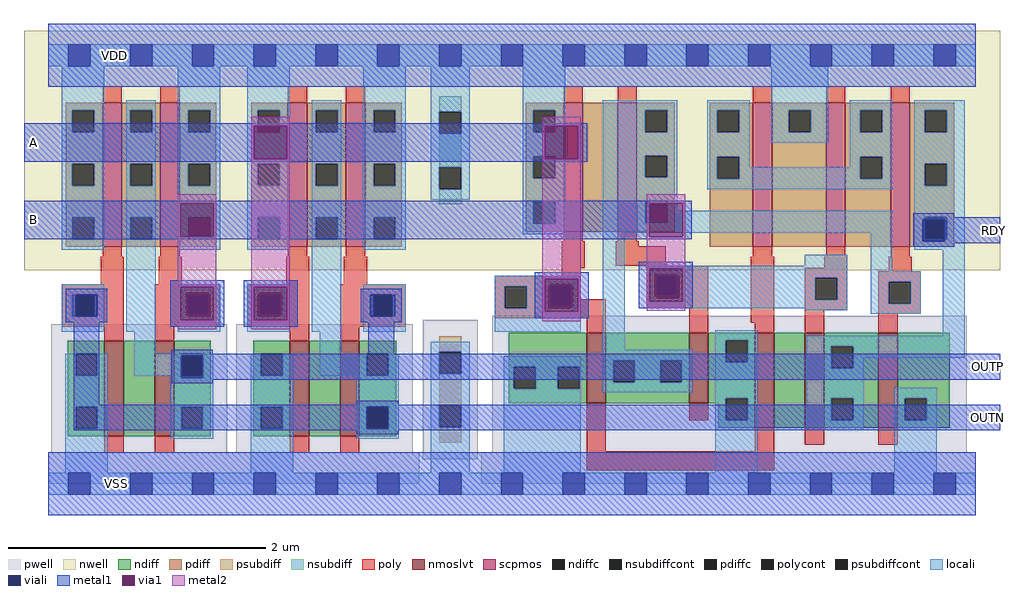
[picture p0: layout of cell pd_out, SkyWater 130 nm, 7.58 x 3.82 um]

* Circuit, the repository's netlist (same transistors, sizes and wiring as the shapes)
* NGSPICE file created from pd_out.ext - technology: sky130A

.subckt sky130_fd_sc_hs__nand2_1 A B VGND VNB VPB VPWR Y
X0 a_117_74# B VGND VNB sky130_fd_pr__nfet_01v8_lvt ad=0.0888 pd=0.98 as=0.2109 ps=2.05 w=0.74 l=0.15
X1 VPWR A Y VPB sky130_fd_pr__pfet_01v8 ad=0.3192 pd=2.81 as=0.168 ps=1.42 w=1.12 l=0.15
X2 Y A a_117_74# VNB sky130_fd_pr__nfet_01v8_lvt ad=0.2109 pd=2.05 as=0.0888 ps=0.98 w=0.74 l=0.15
X3 Y B VPWR VPB sky130_fd_pr__pfet_01v8 ad=0.168 pd=1.42 as=0.3192 ps=2.81 w=1.12 l=0.15
.ends

.subckt sky130_fd_sc_hs__xor2_1 A B VGND VNB VPB VPWR X
X0 X B a_455_87# VNB sky130_fd_pr__nfet_01v8_lvt ad=0.1554 pd=1.16 as=0.0888 ps=0.98 w=0.74 l=0.15
X1 X a_194_125# a_355_368# VPB sky130_fd_pr__pfet_01v8 ad=0.3864 pd=2.93 as=0.196 ps=1.47 w=1.12 l=0.15
X2 a_194_125# B a_158_392# VPB sky130_fd_pr__pfet_01v8 ad=0.295 pd=2.59 as=0.135 ps=1.27 w=1 l=0.15
X3 VPWR A a_355_368# VPB sky130_fd_pr__pfet_01v8 ad=0.2352 pd=1.54 as=0.3752 ps=2.91 w=1.12 l=0.15
X4 a_158_392# A VPWR VPB sky130_fd_pr__pfet_01v8 ad=0.135 pd=1.27 as=0.295 ps=2.59 w=1 l=0.15
X5 a_355_368# B VPWR VPB sky130_fd_pr__pfet_01v8 ad=0.196 pd=1.47 as=0.2352 ps=1.54 w=1.12 l=0.15
X6 a_194_125# A VGND VNB sky130_fd_pr__nfet_01v8_lvt ad=0.17738 pd=1.195 as=0.33275 ps=2.31 w=0.55 l=0.15
X7 a_455_87# A VGND VNB sky130_fd_pr__nfet_01v8_lvt ad=0.0888 pd=0.98 as=0.12607 ps=1.1 w=0.74 l=0.15
X8 VGND B a_194_125# VNB sky130_fd_pr__nfet_01v8_lvt ad=0.12607 pd=1.1 as=0.17738 ps=1.195 w=0.55 l=0.15
X9 VGND a_194_125# X VNB sky130_fd_pr__nfet_01v8_lvt ad=0.2997 pd=2.29 as=0.1554 ps=1.16 w=0.74 l=0.15
.ends

.subckt pd_out A B VDD VSS RDY OUTP OUTN
Xx1 B OUTN VSS VSS VDD VDD OUTP sky130_fd_sc_hs__nand2_1
Xx2 OUTP A VSS VSS VDD VDD OUTN sky130_fd_sc_hs__nand2_1
Xx3 A B VSS VSS VDD VDD RDY sky130_fd_sc_hs__xor2_1
.ends

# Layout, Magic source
magic
tech sky130A
magscale 1 2
<< locali >>
rect 1393 362 1433 365
rect 1393 328 1396 362
rect 1430 328 1433 362
rect 1393 325 1433 328
rect 967 277 1027 290
rect 805 261 865 274
rect 239 248 299 261
rect 77 245 117 248
rect 77 211 80 245
rect 114 211 117 245
rect 77 208 117 211
rect 239 214 252 248
rect 286 214 299 248
rect 239 201 299 214
rect 353 248 413 261
rect 353 214 366 248
rect 400 214 413 248
rect 353 201 413 214
rect 535 245 575 248
rect 535 211 538 245
rect 572 211 575 245
rect 805 227 818 261
rect 852 227 865 261
rect 967 243 980 277
rect 1014 243 1027 277
rect 967 230 1027 243
rect 805 214 865 227
rect 535 208 575 211
rect 241 150 281 153
rect 241 116 244 150
rect 278 116 281 150
rect 241 113 281 116
rect 529 71 569 74
rect 529 37 532 71
rect 566 37 569 71
rect 529 34 569 37
<< viali >>
rect 1396 328 1430 362
rect 80 211 114 245
rect 252 214 286 248
rect 366 214 400 248
rect 538 211 572 245
rect 818 227 852 261
rect 980 243 1014 277
rect 244 116 278 150
rect 532 37 566 71
<< metal1 >>
rect 38 568 1478 666
rect 0 507 875 511
rect 0 455 357 507
rect 409 455 809 507
rect 861 455 875 507
rect 0 451 875 455
rect 0 387 1037 391
rect 0 335 243 387
rect 295 335 971 387
rect 1023 335 1037 387
rect 0 331 1037 335
rect 1381 365 1445 371
rect 1381 362 1516 365
rect 1381 328 1396 362
rect 1430 328 1516 362
rect 1381 325 1516 328
rect 1381 319 1445 325
rect 955 286 1039 296
rect 793 270 877 280
rect 227 257 311 267
rect 65 245 129 254
rect 65 211 80 245
rect 114 211 129 245
rect 65 202 129 211
rect 227 205 243 257
rect 295 205 311 257
rect 77 74 117 202
rect 227 195 311 205
rect 341 257 425 267
rect 341 205 357 257
rect 409 205 425 257
rect 341 195 425 205
rect 523 245 587 254
rect 523 211 538 245
rect 572 211 587 245
rect 523 202 587 211
rect 793 218 809 270
rect 861 218 877 270
rect 955 234 971 286
rect 1023 234 1039 286
rect 955 224 1039 234
rect 793 208 877 218
rect 229 153 293 159
rect 535 153 575 202
rect 229 150 1516 153
rect 229 116 244 150
rect 278 116 1516 150
rect 229 113 1516 116
rect 229 107 293 113
rect 517 74 581 80
rect 77 71 1516 74
rect 77 37 532 71
rect 566 37 1516 71
rect 77 34 1516 37
rect 517 28 581 34
rect 38 -98 1478 0
<< via1 >>
rect 357 455 409 507
rect 809 455 861 507
rect 243 335 295 387
rect 971 335 1023 387
rect 243 248 295 257
rect 243 214 252 248
rect 252 214 286 248
rect 286 214 295 248
rect 243 205 295 214
rect 357 248 409 257
rect 357 214 366 248
rect 366 214 400 248
rect 400 214 409 248
rect 357 205 409 214
rect 809 261 861 270
rect 809 227 818 261
rect 818 227 852 261
rect 852 227 861 261
rect 809 218 861 227
rect 971 277 1023 286
rect 971 243 980 277
rect 980 243 1014 277
rect 1014 243 1023 277
rect 971 234 1023 243
<< metal2 >>
rect 353 507 413 521
rect 353 455 357 507
rect 409 455 413 507
rect 239 387 299 401
rect 239 335 243 387
rect 295 335 299 387
rect 239 257 299 335
rect 239 205 243 257
rect 295 205 299 257
rect 239 191 299 205
rect 353 257 413 455
rect 353 205 357 257
rect 409 205 413 257
rect 353 191 413 205
rect 805 507 865 521
rect 805 455 809 507
rect 861 455 865 507
rect 805 270 865 455
rect 805 218 809 270
rect 861 218 865 270
rect 967 387 1027 401
rect 967 335 971 387
rect 1023 335 1027 387
rect 967 286 1027 335
rect 967 234 971 286
rect 1023 234 1027 286
rect 967 220 1027 234
rect 805 204 865 218
use sky130_fd_sc_hs__tapvpwrvgnd_1  sky130_fd_sc_hs__tapvpwrvgnd_1_0
transform 1 0 614 0 1 -49
box -38 -49 134 715
use sky130_fd_sc_hs__nand2_1  x1
transform 1 0 38 0 1 -49
box -38 -49 326 715
use sky130_fd_sc_hs__nand2_1  x2
transform 1 0 326 0 1 -49
box -38 -49 326 715
use sky130_fd_sc_hs__xor2_1  x3
transform 1 0 710 0 1 -49
box -38 -49 806 715
<< labels >>
flabel metal1 s 0 451 30 511 0 FreeSans 500 0 0 0 A
port 1 nsew
flabel metal1 s 0 331 30 391 0 FreeSans 500 0 0 0 B
port 2 nsew
flabel metal1 s 91 568 189 666 0 FreeSans 500 0 0 0 VDD
port 3 nsew
flabel metal1 s 95 -98 193 0 0 FreeSans 500 0 0 0 VSS
port 4 nsew
flabel metal1 s 1496 325 1516 365 0 FreeSans 500 0 0 0 RDY
port 5 nsew
flabel metal1 s 1476 113 1516 153 0 FreeSans 500 0 0 0 OUTP
port 6 nsew
flabel metal1 s 1476 34 1516 74 0 FreeSans 500 0 0 0 OUTN
port 7 nsew
<< end >>

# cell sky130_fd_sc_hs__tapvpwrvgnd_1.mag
magic
tech sky130A
magscale 1 2
<< nwell >>
rect -38 332 134 704
<< pwell >>
rect 5 38 91 255
<< psubdiff >>
rect 31 205 65 229
rect 31 122 65 171
rect 31 64 65 88
<< nsubdiff >>
rect 31 578 65 602
rect 31 492 65 544
rect 31 434 65 458
<< psubdiffcont >>
rect 31 171 65 205
rect 31 88 65 122
<< nsubdiffcont >>
rect 31 544 65 578
rect 31 458 65 492
<< locali >>
rect 0 649 31 683
rect 65 649 96 683
rect 18 578 78 649
rect 18 544 31 578
rect 65 544 78 578
rect 18 492 78 544
rect 18 458 31 492
rect 65 458 78 492
rect 18 441 78 458
rect 18 205 78 221
rect 18 171 31 205
rect 65 171 78 205
rect 18 122 78 171
rect 18 88 31 122
rect 65 88 78 122
rect 18 17 78 88
rect 0 -17 31 17
rect 65 -17 96 17
<< viali >>
rect 31 649 65 683
rect 31 -17 65 17
<< metal1 >>
rect 0 683 96 715
rect 0 649 31 683
rect 65 649 96 683
rect 0 617 96 649
rect 0 17 96 49
rect 0 -17 31 17
rect 65 -17 96 17
rect 0 -49 96 -17
<< labels >>
rlabel comment s 0 0 0 0 4 tapvpwrvgnd_1
flabel metal1 s 0 617 96 666 0 FreeSans 200 0 0 0 VPWR
port 1 nsew
flabel metal1 s 0 0 96 49 0 FreeSans 200 0 0 0 VGND
port 2 nsew
<< properties >>
string FIXED_BBOX 0 0 96 666
<< end >>

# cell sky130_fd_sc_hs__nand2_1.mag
magic
tech sky130A
magscale 1 2
<< nwell >>
rect -38 332 326 704
<< pwell >>
rect 4 49 278 248
rect 0 0 288 49
<< scpmos >>
rect 84 368 114 592
rect 174 368 204 592
<< nmoslvt >>
rect 87 74 117 222
rect 165 74 195 222
<< ndiff >>
rect 30 202 87 222
rect 30 168 42 202
rect 76 168 87 202
rect 30 120 87 168
rect 30 86 42 120
rect 76 86 87 120
rect 30 74 87 86
rect 117 74 165 222
rect 195 202 252 222
rect 195 168 206 202
rect 240 168 252 202
rect 195 120 252 168
rect 195 86 206 120
rect 240 86 252 120
rect 195 74 252 86
<< pdiff >>
rect 27 580 84 592
rect 27 546 37 580
rect 71 546 84 580
rect 27 497 84 546
rect 27 463 37 497
rect 71 463 84 497
rect 27 414 84 463
rect 27 380 37 414
rect 71 380 84 414
rect 27 368 84 380
rect 114 580 174 592
rect 114 546 127 580
rect 161 546 174 580
rect 114 497 174 546
rect 114 463 127 497
rect 161 463 174 497
rect 114 414 174 463
rect 114 380 127 414
rect 161 380 174 414
rect 114 368 174 380
rect 204 580 261 592
rect 204 546 217 580
rect 251 546 261 580
rect 204 497 261 546
rect 204 463 217 497
rect 251 463 261 497
rect 204 414 261 463
rect 204 380 217 414
rect 251 380 261 414
rect 204 368 261 380
<< ndiffc >>
rect 42 168 76 202
rect 42 86 76 120
rect 206 168 240 202
rect 206 86 240 120
<< pdiffc >>
rect 37 546 71 580
rect 37 463 71 497
rect 37 380 71 414
rect 127 546 161 580
rect 127 463 161 497
rect 127 380 161 414
rect 217 546 251 580
rect 217 463 251 497
rect 217 380 251 414
<< poly >>
rect 84 592 114 618
rect 174 592 204 618
rect 84 353 114 368
rect 174 353 204 368
rect 81 310 117 353
rect 171 310 207 353
rect 21 294 117 310
rect 21 260 37 294
rect 71 260 117 294
rect 21 244 117 260
rect 87 222 117 244
rect 165 294 267 310
rect 165 260 217 294
rect 251 260 267 294
rect 165 244 267 260
rect 165 222 195 244
rect 87 48 117 74
rect 165 48 195 74
<< polycont >>
rect 37 260 71 294
rect 217 260 251 294
<< locali >>
rect 0 649 31 683
rect 65 649 127 683
rect 161 649 223 683
rect 257 649 288 683
rect 21 580 87 649
rect 21 546 37 580
rect 71 546 87 580
rect 21 497 87 546
rect 21 463 37 497
rect 71 463 87 497
rect 21 414 87 463
rect 21 380 37 414
rect 71 380 87 414
rect 21 364 87 380
rect 121 580 167 596
rect 121 546 127 580
rect 161 546 167 580
rect 121 497 167 546
rect 121 463 127 497
rect 161 463 167 497
rect 121 414 167 463
rect 121 380 127 414
rect 161 380 167 414
rect 21 294 87 310
rect 21 260 37 294
rect 71 260 87 294
rect 21 236 87 260
rect 121 236 167 380
rect 201 580 267 649
rect 201 546 217 580
rect 251 546 267 580
rect 201 497 267 546
rect 201 463 217 497
rect 251 463 267 497
rect 201 414 267 463
rect 201 380 217 414
rect 251 380 267 414
rect 201 364 267 380
rect 201 294 267 310
rect 201 260 217 294
rect 251 260 267 294
rect 201 236 267 260
rect 133 202 167 236
rect 26 168 42 202
rect 76 168 92 202
rect 133 168 206 202
rect 240 168 256 202
rect 26 120 92 168
rect 26 86 42 120
rect 76 86 92 120
rect 26 17 92 86
rect 190 120 256 168
rect 190 86 206 120
rect 240 86 256 120
rect 190 70 256 86
rect 0 -17 31 17
rect 65 -17 127 17
rect 161 -17 223 17
rect 257 -17 288 17
<< viali >>
rect 31 649 65 683
rect 127 649 161 683
rect 223 649 257 683
rect 31 -17 65 17
rect 127 -17 161 17
rect 223 -17 257 17
<< metal1 >>
rect 0 683 288 715
rect 0 649 31 683
rect 65 649 127 683
rect 161 649 223 683
rect 257 649 288 683
rect 0 617 288 649
rect 0 17 288 49
rect 0 -17 31 17
rect 65 -17 127 17
rect 161 -17 223 17
rect 257 -17 288 17
rect 0 -49 288 -17
<< labels >>
rlabel comment s 0 0 0 0 4 nand2_1
flabel pwell s 0 0 288 49 0 FreeSans 200 0 0 0 VNB
port 1 nsew
flabel nwell s 0 617 288 666 0 FreeSans 200 0 0 0 VPB
port 2 nsew
flabel metal1 s 0 617 288 666 0 FreeSans 340 0 0 0 VPWR
port 3 nsew
flabel metal1 s 0 0 288 49 0 FreeSans 340 0 0 0 VGND
port 4 nsew
flabel locali s 31 242 65 276 0 FreeSans 340 0 0 0 B
port 6 nsew
flabel locali s 127 242 161 276 0 FreeSans 340 0 0 0 Y
port 7 nsew
flabel locali s 127 316 161 350 0 FreeSans 340 0 0 0 Y
port 7 nsew
flabel locali s 127 390 161 424 0 FreeSans 340 0 0 0 Y
port 7 nsew
flabel locali s 127 464 161 498 0 FreeSans 340 0 0 0 Y
port 7 nsew
flabel locali s 127 538 161 572 0 FreeSans 340 0 0 0 Y
port 7 nsew
flabel locali s 223 242 257 276 0 FreeSans 340 0 0 0 A
port 8 nsew
<< properties >>
string FIXED_BBOX 0 0 288 666
<< end >>

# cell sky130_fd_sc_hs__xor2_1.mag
magic
tech sky130A
magscale 1 2
<< nwell >>
rect -38 332 806 704
<< pwell >>
rect 17 49 754 261
rect 0 0 768 49
<< scpmos >>
rect 128 392 158 592
rect 212 392 242 592
rect 422 368 452 592
rect 536 368 566 592
rect 636 368 666 592
<< nmoslvt >>
rect 164 125 194 235
rect 323 125 353 235
rect 425 87 455 235
rect 503 87 533 235
rect 617 87 647 235
<< ndiff >>
rect 43 182 164 235
rect 43 148 51 182
rect 85 148 119 182
rect 153 148 164 182
rect 43 125 164 148
rect 194 192 323 235
rect 194 158 205 192
rect 239 158 278 192
rect 312 158 323 192
rect 194 125 323 158
rect 353 223 425 235
rect 353 189 380 223
rect 414 189 425 223
rect 353 133 425 189
rect 353 125 380 133
rect 368 99 380 125
rect 414 99 425 133
rect 368 87 425 99
rect 455 87 503 235
rect 533 214 617 235
rect 533 180 544 214
rect 578 180 617 214
rect 533 133 617 180
rect 533 99 544 133
rect 578 99 617 133
rect 533 87 617 99
rect 647 133 728 235
rect 647 99 658 133
rect 692 99 728 133
rect 647 87 728 99
<< pdiff >>
rect 69 580 128 592
rect 69 546 81 580
rect 115 546 128 580
rect 69 509 128 546
rect 69 475 81 509
rect 115 475 128 509
rect 69 438 128 475
rect 69 404 81 438
rect 115 404 128 438
rect 69 392 128 404
rect 158 392 212 592
rect 242 580 301 592
rect 242 546 255 580
rect 289 546 301 580
rect 242 510 301 546
rect 242 476 255 510
rect 289 476 301 510
rect 242 440 301 476
rect 242 406 255 440
rect 289 406 301 440
rect 242 392 301 406
rect 355 580 422 592
rect 355 546 367 580
rect 401 546 422 580
rect 355 508 422 546
rect 355 474 367 508
rect 401 474 422 508
rect 355 368 422 474
rect 452 580 536 592
rect 452 546 478 580
rect 512 546 536 580
rect 452 368 536 546
rect 566 580 636 592
rect 566 546 589 580
rect 623 546 636 580
rect 566 508 636 546
rect 566 474 589 508
rect 623 474 636 508
rect 566 368 636 474
rect 666 580 735 592
rect 666 546 689 580
rect 723 546 735 580
rect 666 497 735 546
rect 666 463 689 497
rect 723 463 735 497
rect 666 414 735 463
rect 666 380 689 414
rect 723 380 735 414
rect 666 368 735 380
<< ndiffc >>
rect 51 148 85 182
rect 119 148 153 182
rect 205 158 239 192
rect 278 158 312 192
rect 380 189 414 223
rect 380 99 414 133
rect 544 180 578 214
rect 544 99 578 133
rect 658 99 692 133
<< pdiffc >>
rect 81 546 115 580
rect 81 475 115 509
rect 81 404 115 438
rect 255 546 289 580
rect 255 476 289 510
rect 255 406 289 440
rect 367 546 401 580
rect 367 474 401 508
rect 478 546 512 580
rect 589 546 623 580
rect 589 474 623 508
rect 689 546 723 580
rect 689 463 723 497
rect 689 380 723 414
<< poly >>
rect 128 592 158 618
rect 212 592 242 618
rect 422 592 452 618
rect 536 592 566 618
rect 636 592 666 618
rect 128 377 158 392
rect 212 377 242 392
rect 125 335 161 377
rect 209 369 245 377
rect 209 339 287 369
rect 422 353 452 368
rect 536 353 566 368
rect 636 353 666 368
rect 125 323 155 335
rect 21 307 155 323
rect 21 273 37 307
rect 71 273 105 307
rect 139 287 155 307
rect 257 323 353 339
rect 257 289 273 323
rect 307 289 353 323
rect 139 273 194 287
rect 257 273 353 289
rect 21 257 194 273
rect 164 235 194 257
rect 323 235 353 273
rect 419 250 455 353
rect 533 336 569 353
rect 425 235 455 250
rect 503 320 569 336
rect 633 330 669 353
rect 503 286 519 320
rect 553 286 569 320
rect 503 270 569 286
rect 617 314 683 330
rect 617 280 633 314
rect 667 280 683 314
rect 503 235 533 270
rect 617 264 683 280
rect 617 235 647 264
rect 164 51 194 125
rect 323 99 353 125
rect 425 51 455 87
rect 503 61 533 87
rect 617 61 647 87
rect 164 21 455 51
<< polycont >>
rect 37 273 71 307
rect 105 273 139 307
rect 273 289 307 323
rect 519 286 553 320
rect 633 280 667 314
<< locali >>
rect 0 649 31 683
rect 65 649 127 683
rect 161 649 223 683
rect 257 649 319 683
rect 353 649 415 683
rect 449 649 511 683
rect 545 649 607 683
rect 641 649 703 683
rect 737 649 768 683
rect 65 580 131 649
rect 65 546 81 580
rect 115 546 131 580
rect 65 509 131 546
rect 65 475 81 509
rect 115 475 131 509
rect 65 438 131 475
rect 65 404 81 438
rect 115 404 131 438
rect 65 388 131 404
rect 189 580 305 596
rect 189 546 255 580
rect 289 546 305 580
rect 189 510 305 546
rect 189 476 255 510
rect 289 476 305 510
rect 189 440 305 476
rect 351 580 417 596
rect 351 546 367 580
rect 401 546 417 580
rect 351 508 417 546
rect 451 580 539 649
rect 451 546 478 580
rect 512 546 539 580
rect 451 530 539 546
rect 573 580 639 596
rect 573 546 589 580
rect 623 546 639 580
rect 351 474 367 508
rect 401 492 417 508
rect 573 508 639 546
rect 573 492 589 508
rect 401 474 589 492
rect 623 474 639 508
rect 351 458 639 474
rect 673 580 751 596
rect 673 546 689 580
rect 723 546 751 580
rect 673 497 751 546
rect 673 463 689 497
rect 723 463 751 497
rect 189 406 255 440
rect 289 424 305 440
rect 289 406 639 424
rect 189 390 639 406
rect 21 307 155 323
rect 21 273 37 307
rect 71 273 105 307
rect 139 273 155 307
rect 21 236 155 273
rect 189 208 223 390
rect 503 339 569 356
rect 257 323 569 339
rect 257 289 273 323
rect 307 320 569 323
rect 307 289 519 320
rect 257 286 519 289
rect 553 286 569 320
rect 257 273 569 286
rect 503 270 569 273
rect 605 330 639 390
rect 673 414 751 463
rect 673 380 689 414
rect 723 380 751 414
rect 673 364 751 380
rect 605 314 683 330
rect 605 280 633 314
rect 667 280 683 314
rect 605 264 683 280
rect 364 223 430 239
rect 717 230 751 364
rect 35 182 155 198
rect 35 148 51 182
rect 85 148 119 182
rect 153 148 155 182
rect 35 17 155 148
rect 189 192 328 208
rect 189 158 205 192
rect 239 158 278 192
rect 312 158 328 192
rect 189 142 328 158
rect 364 189 380 223
rect 414 189 430 223
rect 364 133 430 189
rect 364 99 380 133
rect 414 99 430 133
rect 364 17 430 99
rect 505 214 751 230
rect 505 180 544 214
rect 578 196 751 214
rect 578 180 594 196
rect 505 133 594 180
rect 505 99 544 133
rect 578 99 594 133
rect 505 83 594 99
rect 642 133 708 149
rect 642 99 658 133
rect 692 99 708 133
rect 642 17 708 99
rect 0 -17 31 17
rect 65 -17 127 17
rect 161 -17 223 17
rect 257 -17 319 17
rect 353 -17 415 17
rect 449 -17 511 17
rect 545 -17 607 17
rect 641 -17 703 17
rect 737 -17 768 17
<< viali >>
rect 31 649 65 683
rect 127 649 161 683
rect 223 649 257 683
rect 319 649 353 683
rect 415 649 449 683
rect 511 649 545 683
rect 607 649 641 683
rect 703 649 737 683
rect 31 -17 65 17
rect 127 -17 161 17
rect 223 -17 257 17
rect 319 -17 353 17
rect 415 -17 449 17
rect 511 -17 545 17
rect 607 -17 641 17
rect 703 -17 737 17
<< metal1 >>
rect 0 683 768 715
rect 0 649 31 683
rect 65 649 127 683
rect 161 649 223 683
rect 257 649 319 683
rect 353 649 415 683
rect 449 649 511 683
rect 545 649 607 683
rect 641 649 703 683
rect 737 649 768 683
rect 0 617 768 649
rect 0 17 768 49
rect 0 -17 31 17
rect 65 -17 127 17
rect 161 -17 223 17
rect 257 -17 319 17
rect 353 -17 415 17
rect 449 -17 511 17
rect 545 -17 607 17
rect 641 -17 703 17
rect 737 -17 768 17
rect 0 -49 768 -17
<< labels >>
rlabel comment s 0 0 0 0 4 xor2_1
flabel pwell s 0 0 768 49 0 FreeSans 200 0 0 0 VNB
port 1 nsew
flabel nwell s 0 617 768 666 0 FreeSans 200 0 0 0 VPB
port 2 nsew
flabel metal1 s 0 617 768 666 0 FreeSans 340 0 0 0 VPWR
port 3 nsew
flabel metal1 s 0 0 768 49 0 FreeSans 340 0 0 0 VGND
port 4 nsew
flabel locali s 31 242 65 276 0 FreeSans 340 0 0 0 A
port 6 nsew
flabel locali s 511 316 545 350 0 FreeSans 340 0 0 0 B
port 7 nsew
flabel locali s 511 94 545 128 0 FreeSans 340 0 0 0 X
port 8 nsew
flabel locali s 511 168 545 202 0 FreeSans 340 0 0 0 X
port 8 nsew
<< properties >>
string FIXED_BBOX 0 0 768 666
<< end >>
